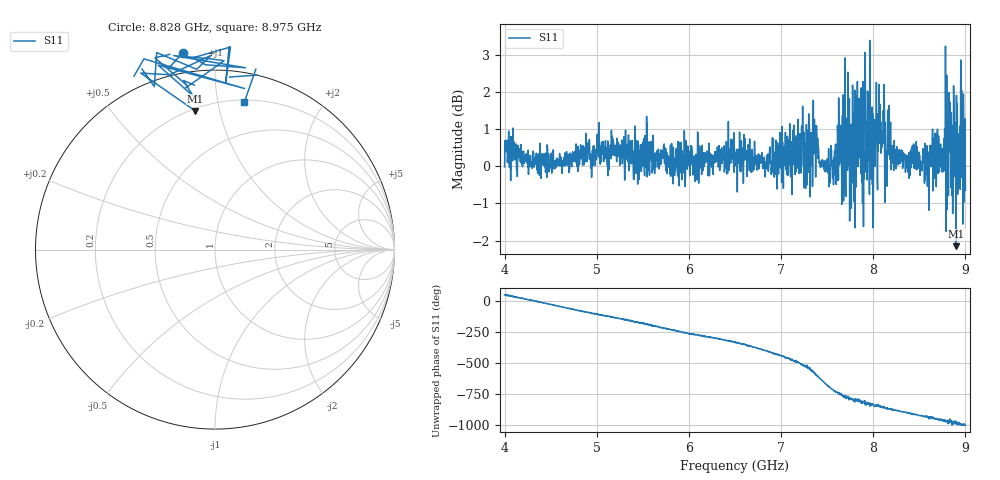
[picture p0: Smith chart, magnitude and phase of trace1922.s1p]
! Created with skrf 1.8.0 (http://scikit-rf.org).
# Hz S RI R 50.0
!freq ReS11 ImS11
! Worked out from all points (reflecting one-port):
!   1601 points, 4 GHz to 9 GHz, reference 50 ohm
!   lowest |S11| = -2.1 dB at 8.9 GHz (marker M1), VSWR 8.12, Z = 10.7 + j42.2 ohm
!   phase of S11 starts at 51 deg and turns -1053 deg over the sweep
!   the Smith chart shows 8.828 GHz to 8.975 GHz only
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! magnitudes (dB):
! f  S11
! 4 GHz  0.0
! 4.625 GHz  -0.2
! 5.25 GHz  0.0
! 5.875 GHz  0.0
! 6.5 GHz  0.2
! 7.125 GHz  0.5
! 7.209 GHz  0.8
! 7.262 GHz  0.6
! 7.372 GHz  1.1
! 7.425 GHz  0.1
! 7.509 GHz  -0.2
! 7.584 GHz  -0.2
! 7.65 GHz  1.1
! 7.75 GHz  -0.1
! 7.769 GHz  -0.1
! 7.844 GHz  0.3
! 7.875 GHz  -0.4
! 7.928 GHz  0.6
! 7.997 GHz  0.7
! 8.097 GHz  0.5
! 8.15 GHz  -0.5
! 8.375 GHz  0.1
! 8.738 GHz  0.2
! 8.822 GHz  2.0
! 8.875 GHz  1.6
! 8.9 GHz  -2.1
! 8.972 GHz  0.3
! 9 GHz  -0.6
